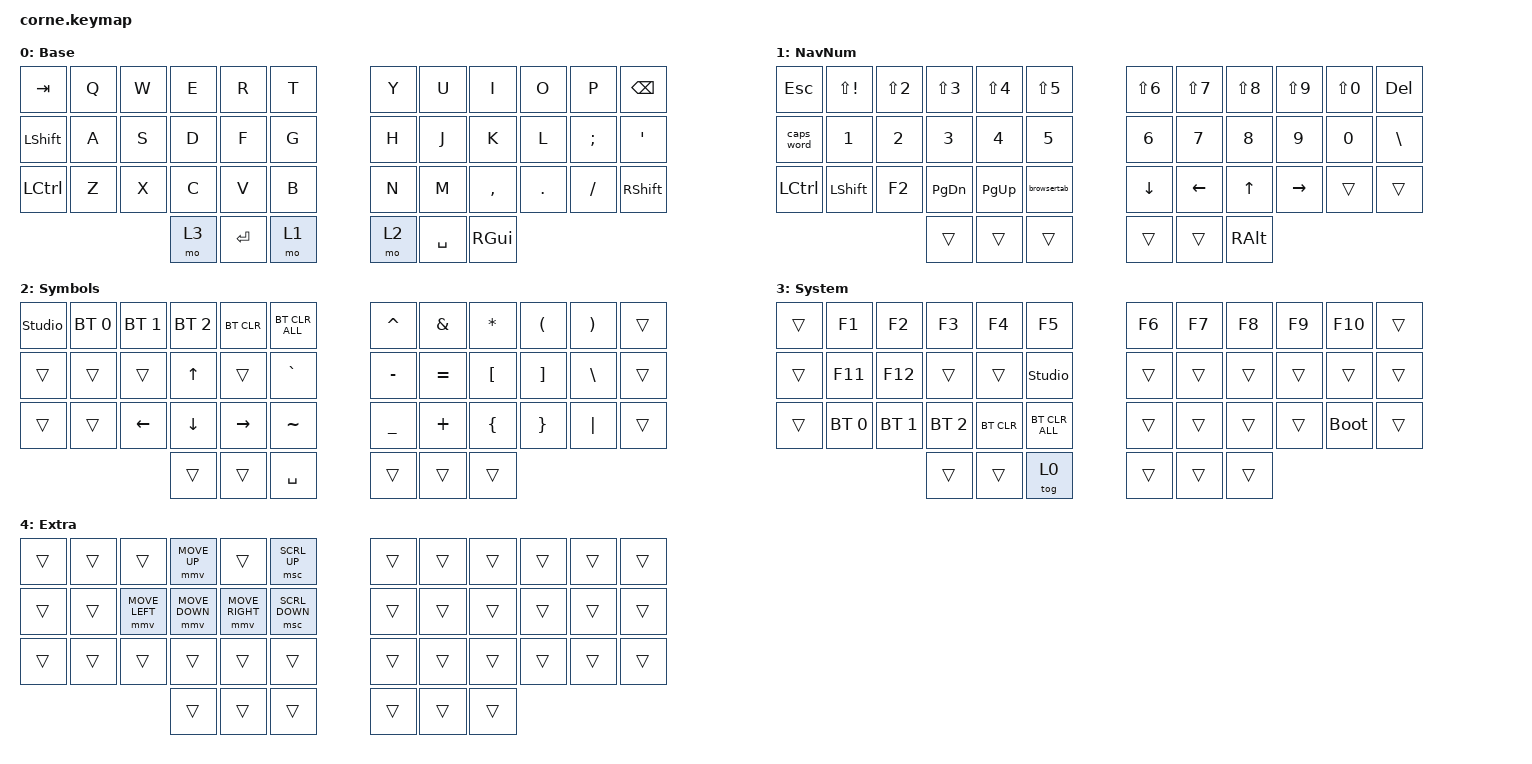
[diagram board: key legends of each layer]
#include <behaviors.dtsi>
#include <dt-bindings/zmk/bt.h>
#include <dt-bindings/zmk/keys.h>
#include <dt-bindings/zmk/pointing.h>

#define DEF 0
#define NAV 1
#define SYM 2
#define ADJ 3
#define EXTRA 4

/ {
    behaviors {
        hm: homerow_mods {
            compatible = "zmk,behavior-hold-tap";
            label = "HOMEROW_MODS";
            #binding-cells = <2>;
            tapping-term-ms = <200>;
            quick_tap_ms = <0>;
            flavor = "tap-preferred";
            bindings = <&kp>, <&kp>;

            quick-tap-ms = <180>;
            global-quick-tap;
        };

        para: para {
            compatible = "zmk,behavior-tap-dance";
            label = "PARA";
            #binding-cells = <0>;
            bindings = <&kp LEFT_PARENTHESIS>, <&kp RIGHT_PARENTHESIS>;
        };

        caps: caps {
            compatible = "zmk,behavior-caps-word";
            label = "CAPS";
            #binding-cells = <0>;
            continue-list = <MINUS BACKSPACE>;
        };

        paraless: paraless {
            compatible = "zmk,behavior-mod-morph";
            label = "PARALESS";
            bindings = <&kp LEFT_PARENTHESIS>, <&kp LESS_THAN>;

            #binding-cells = <0>;
            mods = <(MOD_LSFT)>;
        };

        paragreat: paragreat {
            compatible = "zmk,behavior-mod-morph";
            label = "PARAGREAT";
            bindings = <&kp RIGHT_PARENTHESIS>, <&kp GREATER_THAN>;

            #binding-cells = <0>;
            mods = <(MOD_LSFT)>;
        };
    };

    macros {
        browsertab: browsertab {
            compatible = "zmk,behavior-macro";
            #binding-cells = <0>;
            bindings =
                <&macro_press>,
                <&kp LCTRL>,
                <&macro_tap>,
                <&kp TAB>,
                <&macro_release>,
                <&kp LCTRL>;
        };
    };

    combos {
        compatible = "zmk,combos";

        escape {
            bindings = <&kp ESCAPE>;
            key-positions = <13 29>;
        };

        delete {
            bindings = <&kp DELETE>;
            key-positions = <15 20>;
        };

        perc {
            bindings = <&kp PERCENT>;
            key-positions = <5 4>;
        };

        equal {
            bindings = <&kp EQUAL>;
            key-positions = <7 8 7 8>;
        };

        dollar {
            bindings = <&kp DOLLAR>;
            key-positions = <4 3>;
        };

        pound {
            bindings = <&kp POUND>;
            key-positions = <15 16>;
        };

        at {
            bindings = <&kp AT>;
            key-positions = <14 15>;
        };

        copy {
            bindings = <&kp K_COPY>;
            key-positions = <28 27>;
        };

        paste {
            bindings = <&kp K_PASTE>;
            key-positions = <26 27>;
        };

        plus {
            bindings = <&kp KP_PLUS>;
            key-positions = <20 20 21>;
        };

        minus {
            bindings = <&kp KP_MINUS>;
            key-positions = <19 20>;
        };

        underscore {
            bindings = <&kp UNDER>;
            key-positions = <31 32>;
        };

        para-less {
            bindings = <&paraless>;
            key-positions = <8 9>;
        };

        para-great {
            bindings = <&paragreat>;
            key-positions = <9 10>;
        };

        tilde {
            bindings = <&kp TILDE>;
            key-positions = <0 1>;
        };

        exclamation {
            bindings = <&kp EXCLAMATION>;
            key-positions = <13 14>;
        };
    };

    //

    keymap {
        compatible = "zmk,keymap";

        DEF {
            display-name = "Base";

            // -----------------------------------------------------------------------------------------
            // |  Q  |  W  |  E  |  R  |  T  |   |  Y  |  U   |  I  |  O  |  P  |
            // |  A  |  S  |  D  |  F  |  G  |   |  H  |  J   |  K  |  L  |  ;  |
            // |  Z  |  X  |  C  |  V  |  B  |   |  N  |  M   |  ,  |  .  |  /  |
            // | GUI | CTRL | SHFT | LWR | SPC |   | ENT | RSE  | BKSP | ALT | ESC |

            bindings = <
&kp TAB    &kp Q  &kp W  &kp E  &kp R      &kp T    &kp Y  &kp U      &kp I          &kp O    &kp P     &kp BACKSPACE
&kp LSHFT  &kp A  &kp S  &kp D  &kp F      &kp G    &kp H  &kp J      &kp K          &kp L    &kp SEMI  &kp SQT
&kp LCTRL  &kp Z  &kp X  &kp C  &kp V      &kp B    &kp N  &kp M      &kp COMMA      &kp DOT  &kp FSLH  &kp RSHFT
                         &mo 3  &kp ENTER  &mo 1    &mo 2  &kp SPACE  &kp RIGHT_GUI
            >;
        };

        NAV {
            display-name = "NavNum";

            // -----------------------------------------------------------------------------------------
            // |  TAB |  1  |  2  |  3  |  4  |  5  |   |  6  |  7  |  8  |  9  |  0  | BKSP |
            // | BTCLR| BT1 | BT2 | BT3 | BT4 | BT5 |   | LFT | DWN |  UP | RGT |     |      |
            // | SHFT |     |     |     |     |     |   |     |     |     |     |     |      |
            // | GUI | CTRL | SHFT | LWR | SPC |   | ENT | RSE  | BKSP | ALT | ESC |

            bindings = <
&kp ESC     &kp LS(EXCLAMATION)  &kp LS(N2)  &kp LS(N3)     &kp LS(N4)    &kp LS(N5)     &kp LS(N6)      &kp LS(N7)      &kp LS(N8)     &kp LS(N9)       &kp LS(N0)  &kp DELETE
&caps_word  &kp N1               &kp N2      &kp N3         &kp NUMBER_4  &kp N5         &kp NUMBER_6    &kp N7          &kp N8         &kp N9           &kp N0      &kp BACKSLASH
&kp LCTRL   &kp LEFT_SHIFT       &kp F2      &kp PAGE_DOWN  &kp PAGE_UP   &browsertab    &kp DOWN_ARROW  &kp LEFT_ARROW  &kp UP_ARROW   &kp RIGHT_ARROW  &trans      &trans
                                             &trans         &trans        &trans         &trans          &trans          &kp RIGHT_ALT
            >;
        };

        SYM {
            display-name = "Symbols";

            // -----------------------------------------------------------------------------------------
            // |  TAB |  !  |  @  |  #  |  $  |  %  |   |  ^  |  &  |  *  |  (  |  )  | BKSP |
            // | CTRL |     |     |     |     |     |   |  -  |  =  |  [  |  ]  |  \  |  `   |
            // | SHFT |     |     |     |     |     |   |  _  |  +  |  {  |  }  | "|" |  ~   |
            //                    | GUI |     | SPC |   | ENT |     | ALT |

            bindings = <
&studio_unlock  &bt BT_SEL 0  &bt BT_SEL 1    &bt BT_SEL 2    &bt BT_CLR       &bt BT_CLR_ALL    &kp CARET  &kp AMPS   &kp ASTRK  &kp LEFT_PARENTHESIS  &kp RPAR  &trans
&trans          &trans        &trans          &kp UP_ARROW    &trans           &kp GRAVE         &kp MINUS  &kp EQUAL  &kp LBKT   &kp RBKT              &kp BSLH  &trans
&trans          &trans        &kp LEFT_ARROW  &kp DOWN_ARROW  &kp RIGHT_ARROW  &kp TILDE         &kp UNDER  &kp PLUS   &kp LBRC   &kp RBRC              &kp PIPE  &trans
                                              &trans          &trans           &kp SPACE         &trans     &trans     &trans
            >;
        };

        ADJ {
            display-name = "System";
            bindings = <
&trans  &kp F1        &kp F2        &kp F3        &kp F4      &kp F5            &kp F6  &kp F7  &kp F8  &kp F9  &kp F10      &trans
&trans  &kp F11       &kp F12       &trans        &trans      &studio_unlock    &trans  &trans  &trans  &trans  &trans       &trans
&trans  &bt BT_SEL 0  &bt BT_SEL 1  &bt BT_SEL 2  &bt BT_CLR  &bt BT_CLR_ALL    &trans  &trans  &trans  &trans  &bootloader  &trans
                                    &trans        &trans      &tog 0            &trans  &trans  &trans
            >;
        };

        EXTRA {
            display-name = "Extra";
            bindings = <
&trans  &trans  &trans          &mmv MOVE_UP    &trans           &msc SCRL_UP      &trans  &trans  &trans  &trans  &trans  &trans
&trans  &trans  &mmv MOVE_LEFT  &mmv MOVE_DOWN  &mmv MOVE_RIGHT  &msc SCRL_DOWN    &trans  &trans  &trans  &trans  &trans  &trans
&trans  &trans  &trans          &trans          &trans           &trans            &trans  &trans  &trans  &trans  &trans  &trans
                                &trans          &trans           &trans            &trans  &trans  &trans
            >;
        };
    };

    conditional_layers {
        compatible = "zmk,conditional-layers";

        l3 {
            if-layers = <1 2>;
            then-layer = <3>;
        };
    };
};
